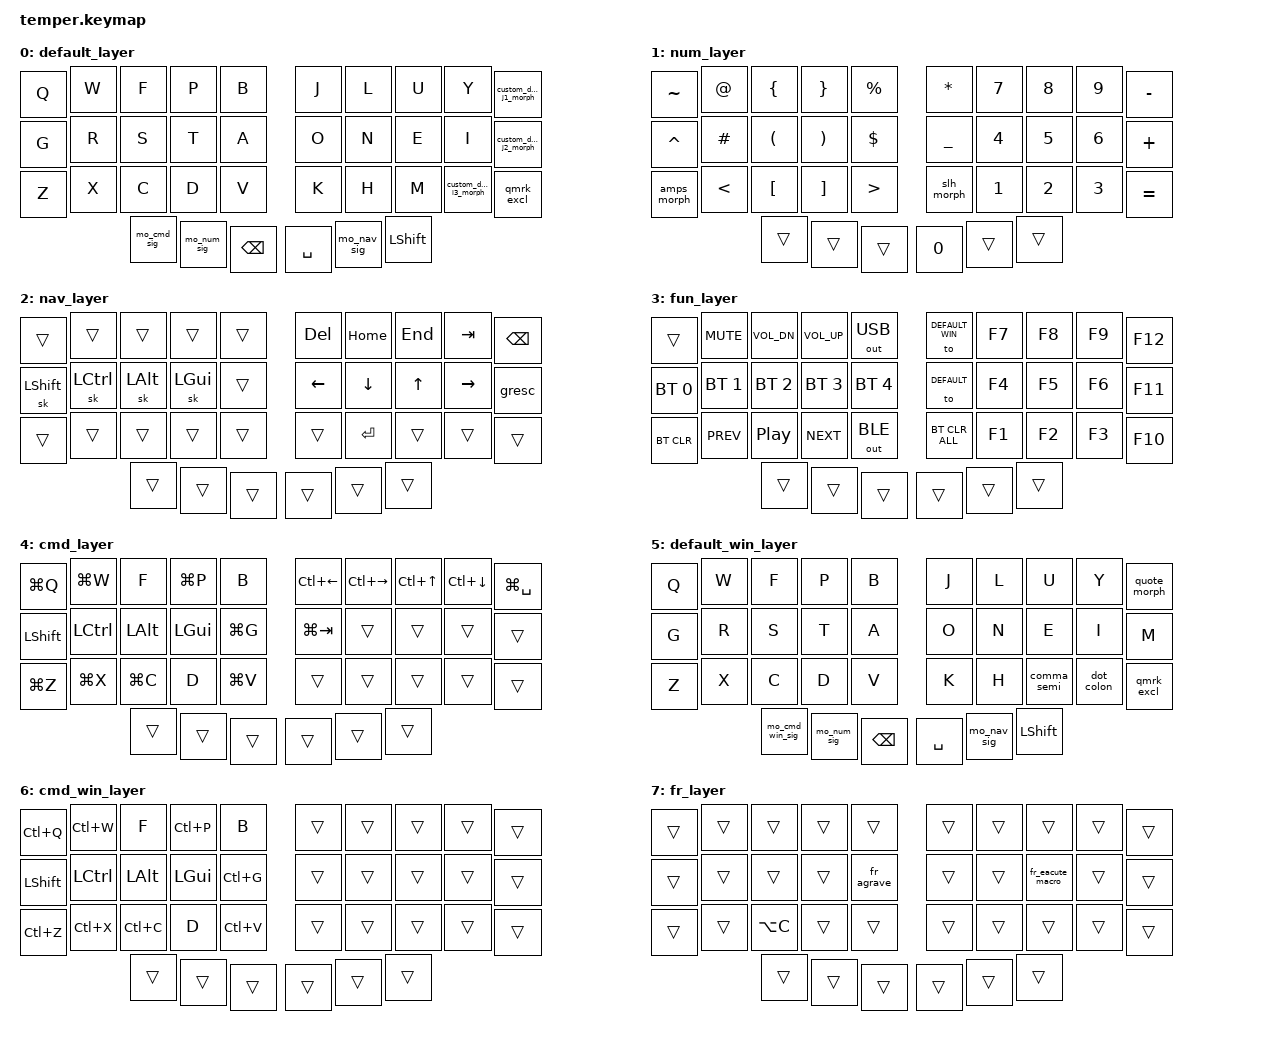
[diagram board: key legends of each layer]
/*
 * Copyright (c) 2020 The ZMK Contributors
 *
 * SPDX-License-Identifier: MIT
 */

#include <behaviors.dtsi>
#include <dt-bindings/zmk/keys.h>
#include <dt-bindings/zmk/bt.h>
#include <dt-bindings/zmk/outputs.h>

#define DEFAULT 0
#define NUM 1
#define NAV 2
#define FUN 3
#define CMD 4
#define DEFAULT_WIN 5
#define CMD_WIN 6
#define FR 7

# define ______ &trans

/ {
    conditional_layers {
        compatible = "zmk,conditional-layers";
        tri_layer {
            if-layers = <NUM NAV>;
            then-layer = <FUN>;
        };
        accents_layer {
            if-layers = <CMD NAV>;
            then-layer = <FR>;
        };
    };
    combos {
        compatible = "zmk,combos";
        combo_studio_unlock {
            timeout-ms = <50>;
            key-positions = <30 31>;
            bindings = <&studio_unlock>;
            layers = <DEFAULT DEFAULT_WIN>;
        };
        combo_enter {
            timeout-ms = <50>;
            key-positions = <32 33>;
            bindings = <&kp RET>;
            layers = <DEFAULT DEFAULT_WIN>;
        };
        combo_escape {
            timeout-ms = <50>;
            key-positions = <31 32>;
            bindings = <&kp ESC>;
            layers = <DEFAULT DEFAULT_WIN>;
        };
        /* Shift (D3) + G3 locks Shift on; the same gesture releases it. */
        combo_shift_lock {
            timeout-ms = <40>;
            key-positions = <30 35>;
            bindings = <&kt LSHFT>;
            layers = <DEFAULT DEFAULT_WIN>;
        };
        /* Accent combos on adjacent home-row letters, so accents never require
         * leaving the base layer: N+E = e-acute, E+I = e-grave. */
        combo_eacute {
            timeout-ms = <40>;
            key-positions = <16 17>;
            bindings = <&eacute_case>;
            layers = <DEFAULT DEFAULT_WIN>;
        };
        combo_egrave {
            timeout-ms = <40>;
            key-positions = <17 18>;
            bindings = <&egrave_case>;
            layers = <DEFAULT DEFAULT_WIN>;
        };
        combo_agrave {
            timeout-ms = <40>;
            key-positions = <13 14>;
            bindings = <&agrave_case>;
            layers = <DEFAULT DEFAULT_WIN>;
        };
        combo_ccedil {
            timeout-ms = <40>;
            key-positions = <13 22>;
            bindings = <&ccedil_case>;
            layers = <DEFAULT DEFAULT_WIN>;
        };
        combo_acirc {
            timeout-ms = <40>;
            key-positions = <14 24>;
            bindings = <&acirc_case>;
            layers = <DEFAULT DEFAULT_WIN>;
        };
        combo_ecirc {
            timeout-ms = <40>;
            key-positions = <17 7>;
            bindings = <&ecirc_case>;
            layers = <DEFAULT DEFAULT_WIN>;
        };
        combo_icirc {
            timeout-ms = <40>;
            key-positions = <18 8>;
            bindings = <&icirc_case>;
            layers = <DEFAULT DEFAULT_WIN>;
        };
        combo_ocirc {
            timeout-ms = <40>;
            key-positions = <15 25>;
            bindings = <&ocirc_case>;
            layers = <DEFAULT DEFAULT_WIN>;
        };
        combo_ucirc {
            timeout-ms = <40>;
            key-positions = <7 27>;
            bindings = <&ucirc_case>;
            layers = <DEFAULT DEFAULT_WIN>;
        };
        combo_ugrave {
            timeout-ms = <40>;
            key-positions = <7 8>;
            bindings = <&ugrave_case>;
            layers = <DEFAULT DEFAULT_WIN>;
        };
        combo_euml {
            timeout-ms = <40>;
            key-positions = <17 27>;
            bindings = <&euml_case>;
            layers = <DEFAULT DEFAULT_WIN>;
        };
        combo_iuml {
            timeout-ms = <40>;
            key-positions = <18 28>;
            bindings = <&iuml_case>;
            layers = <DEFAULT DEFAULT_WIN>;
        };
        combo_uuml {
            timeout-ms = <40>;
            key-positions = <7 6>;
            bindings = <&uuml_case>;
            layers = <DEFAULT DEFAULT_WIN>;
        };
        combo_delete_forward {
            timeout-ms = <50>;
            key-positions = <32 35>;
            bindings = <&kp DEL>;
            layers = <DEFAULT DEFAULT_WIN>;
        };
    };
    behaviors {
        bspc_del: backspace_delete {
            compatible = "zmk,behavior-mod-morph";
            #binding-cells = <0>;
            bindings = <&kp BACKSPACE>, <&kp DELETE>;
            mods = <(MOD_LSFT|MOD_RSFT)>;
            keep-mods = <(MOD_RSFT)>;
        };
        super_bspc: super_backspace {
            compatible = "zmk,behavior-mod-morph";
            #binding-cells = <0>;
            bindings = <&kp BACKSPACE>, <&kp LA(BACKSPACE)>;
            mods = <(MOD_LSFT|MOD_RSFT)>;
        };
        smart_shft: smart_shift {
            compatible = "zmk,behavior-mod-morph";
            #binding-cells = <0>;
            bindings = <&kp LSHFT>, <&caps_word>;
            mods = <(MOD_LSFT)>;
        };
        comma_semi: comma_semi {
            compatible = "zmk,behavior-mod-morph";
            #binding-cells = <0>;
            bindings = <&kp COMMA>, <&kp SEMI>;
            mods = <(MOD_LSFT)>;
        };
        dot_colon: dot_colon {
            compatible = "zmk,behavior-mod-morph";
            #binding-cells = <0>;
            bindings = <&kp DOT>, <&kp COLON>;
            mods = <(MOD_LSFT)>;
        };
        qmrk_excl: qmrk_excl {
            compatible = "zmk,behavior-mod-morph";
            #binding-cells = <0>;
            bindings = <&kp QMARK>, <&kp EXCL>;
            mods = <(MOD_LSFT)>;
        };
        slh_morph: slh_morph {
            compatible = "zmk,behavior-mod-morph";
            #binding-cells = <0>;
            bindings = <&kp FSLH>, <&kp BSLH>;
            mods = <(MOD_LSFT)>;
        };
        amps_morph: amps_morph {
            compatible = "zmk,behavior-mod-morph";
            #binding-cells = <0>;
            bindings = <&kp AMPS>, <&kp PIPE>;
            mods = <(MOD_LSFT)>;
        };
        quote_morph: quote_morph {
            compatible = "zmk,behavior-mod-morph";
            #binding-cells = <0>;
            bindings = <&kp DQT>, <&kp APOS>;
            mods = <(MOD_LSFT)>;
        };
        /* Custom per-key Shift behaviors from the visual editor. */
        custom_default_j1_morph: custom_default_j1_morph {
            compatible = "zmk,behavior-mod-morph";
            #binding-cells = <0>;
            bindings = <&kp DOT>, <&kp DQT>;
            mods = <(MOD_LSFT|MOD_RSFT)>;
        };
        custom_default_j2_morph: custom_default_j2_morph {
            compatible = "zmk,behavior-mod-morph";
            #binding-cells = <0>;
            bindings = <&kp LPAR>, <&kp RPAR>;
            mods = <(MOD_LSFT|MOD_RSFT)>;
        };
        custom_default_i3_morph: custom_default_i3_morph {
            compatible = "zmk,behavior-mod-morph";
            #binding-cells = <0>;
            bindings = <&kp COMMA>, <&kp COLON>;
            mods = <(MOD_LSFT|MOD_RSFT)>;
        };
        /* Thumb layer keys that also hold an unused F-key (F17-F19, inert on macOS),
         * so the host-side screen preview can see which layer thumb is held. */
        mo_num_sig: mo_num_sig {
            compatible = "zmk,behavior-macro";
            #binding-cells = <0>;
            wait-ms = <0>;
            tap-ms = <0>;
            bindings = <&macro_press &mo NUM &kp F17>, <&macro_pause_for_release>, <&macro_release &mo NUM &kp F17>;
        };
        mo_nav_sig: mo_nav_sig {
            compatible = "zmk,behavior-macro";
            #binding-cells = <0>;
            wait-ms = <0>;
            tap-ms = <0>;
            bindings = <&macro_press &mo NAV &kp F18>, <&macro_pause_for_release>, <&macro_release &mo NAV &kp F18>;
        };
        mo_cmd_sig: mo_cmd_sig {
            compatible = "zmk,behavior-macro";
            #binding-cells = <0>;
            wait-ms = <0>;
            tap-ms = <0>;
            bindings = <&macro_press &mo CMD &kp F19>, <&macro_pause_for_release>, <&macro_release &mo CMD &kp F19>;
        };
        mo_cmd_win_sig: mo_cmd_win_sig {
            compatible = "zmk,behavior-macro";
            #binding-cells = <0>;
            wait-ms = <0>;
            tap-ms = <0>;
            bindings = <&macro_press &mo CMD_WIN &kp F19>, <&macro_pause_for_release>, <&macro_release &mo CMD_WIN &kp F19>;
        };
        /* French accents: macOS Option dead-key sequences (Option+E, E = é / Option+`, E = è).
         * Mac-mode only -- Alt means something else entirely on Windows/Linux. */
        fr_eacute_macro: fr_eacute_macro {
            compatible = "zmk,behavior-macro";
            #binding-cells = <0>;
            bindings = <&macro_tap &kp LA(E) &kp E>;
        };
        fr_egrave_macro: fr_egrave_macro {
            compatible = "zmk,behavior-macro";
            #binding-cells = <0>;
            bindings = <&macro_tap &kp LA(GRAVE) &kp E>;
        };
        fr_agrave: fr_agrave {
            compatible = "zmk,behavior-macro";
            #binding-cells = <0>;
            bindings = <&macro_tap &kp LA(GRAVE) &kp A>;
        };
        /* Uppercase variants: same dead-key sequence, Shift held on the letter tap. */
        fr_eacute_upper_macro: fr_eacute_upper_macro {
            compatible = "zmk,behavior-macro";
            #binding-cells = <0>;
            bindings = <&macro_tap &kp LA(E) &kp LS(E)>;
        };
        fr_egrave_upper_macro: fr_egrave_upper_macro {
            compatible = "zmk,behavior-macro";
            #binding-cells = <0>;
            bindings = <&macro_tap &kp LA(GRAVE) &kp LS(E)>;
        };
        fr_agrave_upper_macro: fr_agrave_upper_macro {
            compatible = "zmk,behavior-macro";
            #binding-cells = <0>;
            bindings = <&macro_tap &kp LA(GRAVE) &kp LS(A)>;
        };
        /* Case-aware wrappers bound directly to the combos below. */
        eacute_case: eacute_case {
            compatible = "zmk,behavior-mod-morph";
            #binding-cells = <0>;
            bindings = <&fr_eacute_macro>, <&fr_eacute_upper_macro>;
            mods = <(MOD_LSFT|MOD_RSFT)>;
        };
        egrave_case: egrave_case {
            compatible = "zmk,behavior-mod-morph";
            #binding-cells = <0>;
            bindings = <&fr_egrave_macro>, <&fr_egrave_upper_macro>;
            mods = <(MOD_LSFT|MOD_RSFT)>;
        };
        agrave_case: agrave_case {
            compatible = "zmk,behavior-mod-morph";
            #binding-cells = <0>;
            bindings = <&fr_agrave>, <&fr_agrave_upper_macro>;
            mods = <(MOD_LSFT|MOD_RSFT)>;
        };
        ccedil_case: ccedil_case {
            compatible = "zmk,behavior-mod-morph";
            #binding-cells = <0>;
            bindings = <&kp LA(C)>, <&kp LA(LS(C))>;
            mods = <(MOD_LSFT|MOD_RSFT)>;
        };
        /* Remaining French accents, lowercase only -- rare enough (<0.25% each)
         * that a Shift-case variant isn't worth the extra behavior. */
        fr_acirc: fr_acirc {
            compatible = "zmk,behavior-macro";
            #binding-cells = <0>;
            bindings = <&macro_tap &kp LA(I) &kp A>;
        };
        fr_ecirc: fr_ecirc {
            compatible = "zmk,behavior-macro";
            #binding-cells = <0>;
            bindings = <&macro_tap &kp LA(I) &kp E>;
        };
        fr_icirc: fr_icirc {
            compatible = "zmk,behavior-macro";
            #binding-cells = <0>;
            bindings = <&macro_tap &kp LA(I) &kp I>;
        };
        fr_ocirc: fr_ocirc {
            compatible = "zmk,behavior-macro";
            #binding-cells = <0>;
            bindings = <&macro_tap &kp LA(I) &kp O>;
        };
        fr_ucirc: fr_ucirc {
            compatible = "zmk,behavior-macro";
            #binding-cells = <0>;
            bindings = <&macro_tap &kp LA(I) &kp U>;
        };
        fr_ugrave: fr_ugrave {
            compatible = "zmk,behavior-macro";
            #binding-cells = <0>;
            bindings = <&macro_tap &kp LA(GRAVE) &kp U>;
        };
        fr_euml: fr_euml {
            compatible = "zmk,behavior-macro";
            #binding-cells = <0>;
            bindings = <&macro_tap &kp LA(U) &kp E>;
        };
        fr_iuml: fr_iuml {
            compatible = "zmk,behavior-macro";
            #binding-cells = <0>;
            bindings = <&macro_tap &kp LA(U) &kp I>;
        };
        fr_uuml: fr_uuml {
            compatible = "zmk,behavior-macro";
            #binding-cells = <0>;
            bindings = <&macro_tap &kp LA(U) &kp U>;
        };
        /* Uppercase variants + case-aware wrappers for the 9 rare accents above. */
        fr_acirc_upper_macro: fr_acirc_upper_macro {
            compatible = "zmk,behavior-macro";
            #binding-cells = <0>;
            bindings = <&macro_tap &kp LA(I) &kp LS(A)>;
        };
        fr_ecirc_upper_macro: fr_ecirc_upper_macro {
            compatible = "zmk,behavior-macro";
            #binding-cells = <0>;
            bindings = <&macro_tap &kp LA(I) &kp LS(E)>;
        };
        fr_icirc_upper_macro: fr_icirc_upper_macro {
            compatible = "zmk,behavior-macro";
            #binding-cells = <0>;
            bindings = <&macro_tap &kp LA(I) &kp LS(I)>;
        };
        fr_ocirc_upper_macro: fr_ocirc_upper_macro {
            compatible = "zmk,behavior-macro";
            #binding-cells = <0>;
            bindings = <&macro_tap &kp LA(I) &kp LS(O)>;
        };
        fr_ucirc_upper_macro: fr_ucirc_upper_macro {
            compatible = "zmk,behavior-macro";
            #binding-cells = <0>;
            bindings = <&macro_tap &kp LA(I) &kp LS(U)>;
        };
        fr_ugrave_upper_macro: fr_ugrave_upper_macro {
            compatible = "zmk,behavior-macro";
            #binding-cells = <0>;
            bindings = <&macro_tap &kp LA(GRAVE) &kp LS(U)>;
        };
        fr_euml_upper_macro: fr_euml_upper_macro {
            compatible = "zmk,behavior-macro";
            #binding-cells = <0>;
            bindings = <&macro_tap &kp LA(U) &kp LS(E)>;
        };
        fr_iuml_upper_macro: fr_iuml_upper_macro {
            compatible = "zmk,behavior-macro";
            #binding-cells = <0>;
            bindings = <&macro_tap &kp LA(U) &kp LS(I)>;
        };
        fr_uuml_upper_macro: fr_uuml_upper_macro {
            compatible = "zmk,behavior-macro";
            #binding-cells = <0>;
            bindings = <&macro_tap &kp LA(U) &kp LS(U)>;
        };
        acirc_case: acirc_case {
            compatible = "zmk,behavior-mod-morph";
            #binding-cells = <0>;
            bindings = <&fr_acirc>, <&fr_acirc_upper_macro>;
            mods = <(MOD_LSFT|MOD_RSFT)>;
        };
        ecirc_case: ecirc_case {
            compatible = "zmk,behavior-mod-morph";
            #binding-cells = <0>;
            bindings = <&fr_ecirc>, <&fr_ecirc_upper_macro>;
            mods = <(MOD_LSFT|MOD_RSFT)>;
        };
        icirc_case: icirc_case {
            compatible = "zmk,behavior-mod-morph";
            #binding-cells = <0>;
            bindings = <&fr_icirc>, <&fr_icirc_upper_macro>;
            mods = <(MOD_LSFT|MOD_RSFT)>;
        };
        ocirc_case: ocirc_case {
            compatible = "zmk,behavior-mod-morph";
            #binding-cells = <0>;
            bindings = <&fr_ocirc>, <&fr_ocirc_upper_macro>;
            mods = <(MOD_LSFT|MOD_RSFT)>;
        };
        ucirc_case: ucirc_case {
            compatible = "zmk,behavior-mod-morph";
            #binding-cells = <0>;
            bindings = <&fr_ucirc>, <&fr_ucirc_upper_macro>;
            mods = <(MOD_LSFT|MOD_RSFT)>;
        };
        ugrave_case: ugrave_case {
            compatible = "zmk,behavior-mod-morph";
            #binding-cells = <0>;
            bindings = <&fr_ugrave>, <&fr_ugrave_upper_macro>;
            mods = <(MOD_LSFT|MOD_RSFT)>;
        };
        euml_case: euml_case {
            compatible = "zmk,behavior-mod-morph";
            #binding-cells = <0>;
            bindings = <&fr_euml>, <&fr_euml_upper_macro>;
            mods = <(MOD_LSFT|MOD_RSFT)>;
        };
        iuml_case: iuml_case {
            compatible = "zmk,behavior-mod-morph";
            #binding-cells = <0>;
            bindings = <&fr_iuml>, <&fr_iuml_upper_macro>;
            mods = <(MOD_LSFT|MOD_RSFT)>;
        };
        uuml_case: uuml_case {
            compatible = "zmk,behavior-mod-morph";
            #binding-cells = <0>;
            bindings = <&fr_uuml>, <&fr_uuml_upper_macro>;
            mods = <(MOD_LSFT|MOD_RSFT)>;
        };
    };
        keymap {
                compatible = "zmk,keymap";

                default_layer {
                        bindings = <
// ╭─────────────┬─────────────┬─────────────┬─────────────┬─────────────╮   ╭─────────────┬─────────────┬─────────────┬─────────────┬─────────────╮
        &kp Q         &kp W         &kp F         &kp P         &kp B             &kp J         &kp L         &kp U         &kp Y       &custom_default_j1_morph
// ├─────────────┼─────────────┼─────────────┼─────────────┼─────────────┤   ├─────────────┼─────────────┼─────────────┼─────────────┼─────────────┤
        &kp G         &kp R         &kp S         &kp T         &kp A             &kp O         &kp N         &kp E         &kp I         &custom_default_j2_morph
// ├─────────────┼─────────────┼─────────────┼─────────────┼─────────────┤   ├─────────────┼─────────────┼─────────────┼─────────────┼─────────────┤
        &kp Z         &kp X         &kp C         &kp D         &kp V             &kp K         &kp H         &kp M    &custom_default_i3_morph    &qmrk_excl
// ╰─────────────┴─────────────┼─────────────┼─────────────┼─────────────┤   ├─────────────┼─────────────┼─────────────┼─────────────┴─────────────╯
                                   &mo_cmd_sig       &mo_num_sig       &kp BSPC         &kp SPACE      &mo_nav_sig     &kp LSHFT
//                             ╰─────────────┴─────────────┴─────────────╯   ╰─────────────┴─────────────┴─────────────╯
                        >;
                };
                num_layer {
                        bindings = <
// ╭─────────────┬─────────────┬─────────────┬─────────────┬─────────────╮   ╭─────────────┬─────────────┬─────────────┬─────────────┬─────────────╮
      &kp TILDE       &kp AT       &kp LBRC      &kp RBRC     &kp PRCNT          &kp STAR       &kp N7        &kp N8        &kp N9      &kp MINUS
// ├─────────────┼─────────────┼─────────────┼─────────────┼─────────────┤   ├─────────────┼─────────────┼─────────────┼─────────────┼─────────────┤
      &kp CARET      &kp HASH      &kp LPAR      &kp RPAR      &kp DLLR         &kp UNDER       &kp N4        &kp N5        &kp N6      &kp PLUS
// ├─────────────┼─────────────┼─────────────┼─────────────┼─────────────┤   ├─────────────┼─────────────┼─────────────┼─────────────┼─────────────┤
      &amps_morph     &kp LT       &kp LBKT      &kp RBKT       &kp GT          &slh_morph      &kp N1        &kp N2        &kp N3      &kp EQUAL
// ╰─────────────┴─────────────┼─────────────┼─────────────┼─────────────┤   ├─────────────┼─────────────┼─────────────┼─────────────┴─────────────╯
                                    ______        ______        ______            &kp N0        ______        ______
//                             ╰─────────────┴─────────────┴─────────────╯   ╰─────────────┴─────────────┴─────────────╯
                        >;
                };

                nav_layer {
                        bindings = <
// ╭─────────────┬─────────────┬─────────────┬─────────────┬─────────────╮   ╭─────────────┬─────────────┬─────────────┬─────────────┬─────────────╮
        ______        ______        ______        ______        ______           &kp DEL       &kp HOME      &kp END       &kp TAB       &kp BSPC
// ├─────────────┼─────────────┼─────────────┼─────────────┼─────────────┤   ├─────────────┼─────────────┼─────────────┼─────────────┼─────────────┤
      &sk LSHFT     &sk LCTRL      &sk LALT      &sk LGUI       ______           &kp LEFT      &kp DOWN       &kp UP      &kp RIGHT       &gresc
// ├─────────────┼─────────────┼─────────────┼─────────────┼─────────────┤   ├─────────────┼─────────────┼─────────────┼─────────────┼─────────────┤
        ______        ______        ______        ______        ______            ______        &kp RET       ______        ______        ______
// ╰─────────────┴─────────────┼─────────────┼─────────────┼─────────────┤   ├─────────────┼─────────────┼─────────────┼─────────────┴─────────────╯
                                    ______        ______        ______            ______        ______        ______
//                             ╰─────────────┴─────────────┴─────────────╯   ╰─────────────┴─────────────┴─────────────╯
                        >;
                };

                fun_layer {
                        bindings = <
// ╭─────────────┬─────────────┬─────────────┬─────────────┬─────────────╮   ╭─────────────┬─────────────┬─────────────┬─────────────┬─────────────╮
      ______      &kp K_MUTE    &kp C_VOL_DN  &kp C_VOL_UP  &out OUT_USB    &to DEFAULT_WIN   &kp F7        &kp F8        &kp F9       &kp F12
// ├─────────────┼─────────────┼─────────────┼─────────────┼─────────────┤   ├─────────────┼─────────────┼─────────────┼─────────────┼─────────────┤
     &bt BT_SEL 0  &bt BT_SEL 1  &bt BT_SEL 2  &bt BT_SEL 3  &bt BT_SEL 4      &to DEFAULT     &kp F4        &kp F5        &kp F6       &kp F11
// ├─────────────┼─────────────┼─────────────┼─────────────┼─────────────┤   ├─────────────┼─────────────┼─────────────┼─────────────┼─────────────┤
      &bt BT_CLR    &kp C_PREV     &kp C_PP     &kp C_NEXT   &out OUT_BLE    &bt BT_CLR_ALL   &kp F1        &kp F2        &kp F3       &kp F10
// ╰─────────────┴─────────────┼─────────────┼─────────────┼─────────────┤   ├─────────────┼─────────────┼─────────────┼─────────────┴─────────────╯
                                    ______        ______        ______            ______        ______        ______
//                             ╰─────────────┴─────────────┴─────────────╯   ╰─────────────┴─────────────┴─────────────╯
                        >;
                };

                cmd_layer {
                        bindings = <
// ╭─────────────┬─────────────┬─────────────┬─────────────┬─────────────╮   ╭─────────────┬─────────────┬─────────────┬─────────────┬─────────────╮
       &kp LG(Q)    &kp LG(W)       &kp F       &kp LG(P)       &kp B          &kp LC(LEFT)   &kp LC(RIGHT)   &kp LC(UP)    &kp LC(DOWN)  &kp LG(SPACE)
// ├─────────────┼─────────────┼─────────────┼─────────────┼─────────────┤   ├─────────────┼─────────────┼─────────────┼─────────────┼─────────────┤
       &kp LSHFT    &kp LCTRL     &kp LALT      &kp LGUI      &kp LG(G)          &kp LG(TAB)     ______        ______        ______        ______
// ├─────────────┼─────────────┼─────────────┼─────────────┼─────────────┤   ├─────────────┼─────────────┼─────────────┼─────────────┼─────────────┤
       &kp LG(Z)    &kp LG(X)     &kp LG(C)       &kp D       &kp LG(V)           ______        ______        ______        ______        ______
// ╰─────────────┴─────────────┼─────────────┼─────────────┼─────────────┤   ├─────────────┼─────────────┼─────────────┼─────────────┴─────────────╯
                                    ______        ______        ______            ______        ______        ______
//                             ╰─────────────┴─────────────┴─────────────╯   ╰─────────────┴─────────────┴─────────────╯
                        >;
                };

                default_win_layer {
                        bindings = <
// ╭─────────────┬─────────────┬─────────────┬─────────────┬─────────────╮   ╭─────────────┬─────────────┬─────────────┬─────────────┬─────────────╮
        &kp Q         &kp W         &kp F         &kp P         &kp B             &kp J         &kp L         &kp U         &kp Y       &quote_morph
// ├─────────────┼─────────────┼─────────────┼─────────────┼─────────────┤   ├─────────────┼─────────────┼─────────────┼─────────────┼─────────────┤
        &kp G         &kp R         &kp S         &kp T         &kp A             &kp O         &kp N         &kp E         &kp I         &kp M
// ├─────────────┼─────────────┼─────────────┼─────────────┼─────────────┤   ├─────────────┼─────────────┼─────────────┼─────────────┼─────────────┤
        &kp Z         &kp X         &kp C         &kp D         &kp V             &kp K         &kp H      &comma_semi    &dot_colon    &qmrk_excl
// ╰─────────────┴─────────────┼─────────────┼─────────────┼─────────────┤   ├─────────────┼─────────────┼─────────────┼─────────────┴─────────────╯
                                 &mo_cmd_win_sig     &mo_num_sig       &kp BSPC         &kp SPACE      &mo_nav_sig     &kp LSHFT
//                             ╰─────────────┴─────────────┴─────────────╯   ╰─────────────┴─────────────┴─────────────╯
                        >;
                };

                cmd_win_layer {
                        bindings = <
// ╭─────────────┬─────────────┬─────────────┬─────────────┬─────────────╮   ╭─────────────┬─────────────┬─────────────┬─────────────┬─────────────╮
       &kp LC(Q)    &kp LC(W)       &kp F       &kp LC(P)       &kp B             ______        ______        ______        ______        ______
// ├─────────────┼─────────────┼─────────────┼─────────────┼─────────────┤   ├─────────────┼─────────────┼─────────────┼─────────────┼─────────────┤
       &kp LSHFT    &kp LCTRL     &kp LALT      &kp LGUI      &kp LC(G)           ______        ______        ______        ______        ______
// ├─────────────┼─────────────┼─────────────┼─────────────┼─────────────┤   ├─────────────┼─────────────┼─────────────┼─────────────┼─────────────┤
       &kp LC(Z)    &kp LC(X)     &kp LC(C)       &kp D       &kp LC(V)           ______        ______        ______        ______        ______
// ╰─────────────┴─────────────┼─────────────┼─────────────┼─────────────┤   ├─────────────┼─────────────┼─────────────┼─────────────┴─────────────╯
                                    ______        ______        ______            ______        ______        ______
//                             ╰─────────────┴─────────────┴─────────────╯   ╰─────────────┴─────────────┴─────────────╯
                        >;
                };

                /* French accents (macOS Option dead-keys). Mirrors letter
                 * positions for muscle memory: à under A, é/è under E, ç under C. */
                fr_layer {
                        bindings = <
// ╭─────────────┬─────────────┬─────────────┬─────────────┬─────────────╮   ╭─────────────┬─────────────┬─────────────┬─────────────┬─────────────╮
        ______        ______        ______        ______        ______            ______        ______        ______        ______        ______
// ├─────────────┼─────────────┼─────────────┼─────────────┼─────────────┤   ├─────────────┼─────────────┼─────────────┼─────────────┼─────────────┤
        ______        ______        ______        ______      &fr_agrave          ______        ______     &fr_eacute_macro     ______        ______
// ├─────────────┼─────────────┼─────────────┼─────────────┼─────────────┤   ├─────────────┼─────────────┼─────────────┼─────────────┼─────────────┤
        ______        ______      &kp LA(C)       ______        ______            ______        ______        ______        ______        ______
// ╰─────────────┴─────────────┼─────────────┼─────────────┼─────────────┤   ├─────────────┼─────────────┼─────────────┼─────────────┴─────────────╯
                                    ______        ______        ______            ______        ______        ______
//                             ╰─────────────┴─────────────┴─────────────╯   ╰─────────────┴─────────────┴─────────────╯
                        >;
                };
        };
};
